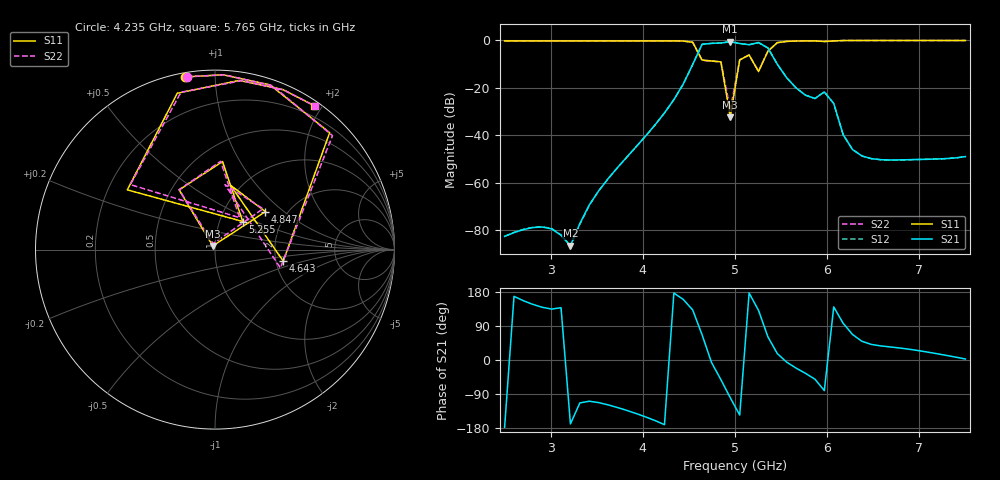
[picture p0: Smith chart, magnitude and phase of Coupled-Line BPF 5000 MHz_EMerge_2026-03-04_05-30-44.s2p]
! Generated by EMerge - 2-port S-parameters
! File generated: 2026-03-04 05:30
! --- Coupled-Line BPF 5000 MHz ---
! Substrate: RO4003C
! h = 0.508 mm
! W50 = 1.1 mm, Lfeed = 5 mm
! L1 = 8.93 mm, S1 = 0.2 mm, W1 = 0.76 mm
! L2 = 8.93 mm, S2 = 0.2 mm, W2 = 1.08 mm
! Run time = 0.82 min
# GHZ S RI R 50
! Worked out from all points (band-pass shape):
!   50 points, 2.5 GHz to 7.5 GHz, reference 50 ohm
!   highest |S21| = -0.55 dB at 4.949 GHz (marker M1); lowest = -86.6 dB at 3.214 GHz (marker M2)
!   |S21| within 3 dB of the highest: 4.62 GHz to 5.362 GHz (742.5 MHz wide, 14.9 % of centre)
!   lowest |S11| = -32.4 dB at 4.949 GHz (marker M3), VSWR 1.05, Z = 48.7 + j2.01 ohm
!   |S11| at or under -10 dB: 4.851 GHz to 5.044 GHz (192.5 MHz wide, 3.89 % of centre); 5.209 GHz to 5.293 GHz (83.34 MHz wide, 1.59 % of centre)
!   |S22| runs from -29.2 to 0.0 dB; largest |S21 - S12| = 0.00073
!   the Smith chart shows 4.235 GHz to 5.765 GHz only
!   S11 on the Smith chart (normalised r, x): 4.235 GHz: 0.02, +0.84; 4.643 GHz: 2.19, -0.33; 4.847 GHz: 1.56, +0.75; 5.255 GHz: 1.29, +0.42; 5.765 GHz: 0.06, +1.90
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2.5  -0.683 -0.6978  -7.36e-05 -3.18e-06  -7.41e-05 -2.23e-06  -0.6857 -0.6951
3.214286  -0.9726 -0.00761  -4.61e-05 -9.21e-06  -4.54e-05 -6.01e-06  -0.9726 -0.00201
3.418367  -0.9457 0.2265  -0.000109 -0.00032  -0.000107 -0.000315  -0.9442 0.2323
4.234694  -0.1645 0.9619  -0.0291 -0.00478  -0.0291 -0.00478  -0.1562 0.9633
4.438776  0.3068 0.9177  -0.1128 0.0415  -0.1127 0.0414  0.3195 0.9133
4.540816  0.6389 0.6514  -0.2082 0.2305  -0.208 0.2303  0.6545 0.6348
4.642857  0.38 -0.0638  0.3296 0.7604  0.3293 0.7597  0.3642 -0.1024
4.744898  0.0863 0.3586  0.8595 -0.0964  0.8588 -0.0964  0.0559 0.3614
4.846939  0.2813 0.2115  0.5435 -0.6925  0.5431 -0.6921  0.2677 0.2278
4.94898  -0.0123 0.0206  -0.1579 -0.9254  -0.1579 -0.9249  -0.0109 0.033
5.05102  -0.1999 0.3326  -0.7076 -0.4884  -0.7073 -0.4882  -0.1995 0.3338
5.153061  0.0418 0.4908  -0.8091 0.0464  -0.8088 0.0464  0.0311 0.4922
5.255102  0.1547 0.1565  -0.5904 0.6793  -0.5902 0.6791  0.1377 0.1776
5.357143  -0.4885 0.333  0.3343 0.6061  0.3343 0.606  -0.4715 0.3621
5.459184  -0.21 0.8711  0.3005 0.0912  0.3005 0.0912  -0.1894 0.8769
5.765306  0.5531 0.8021  0.057 -0.0403  0.0571 -0.0404  0.5592 0.7981
5.867347  0.6894 0.6886  0.0377 -0.046  0.0378 -0.046  0.6933 0.6848
5.969388  0.7819 0.5357  0.0132 -0.0807  0.0132 -0.0807  0.784 0.532
6.071429  0.8207 0.5213  -0.0358 0.0299  -0.0358 0.0299  0.8215 0.5197
6.27551  0.9643 0.2403  0.00193 0.0046  0.00193 0.00459  0.9646 0.2396
6.683673  0.9626 -0.2567  0.00248 0.0017  0.00248 0.00169  0.9628 -0.2558
7.5  0.392 -0.9116  0.00354 0.000166  0.00354 8.93e-05  0.392 -0.9116
